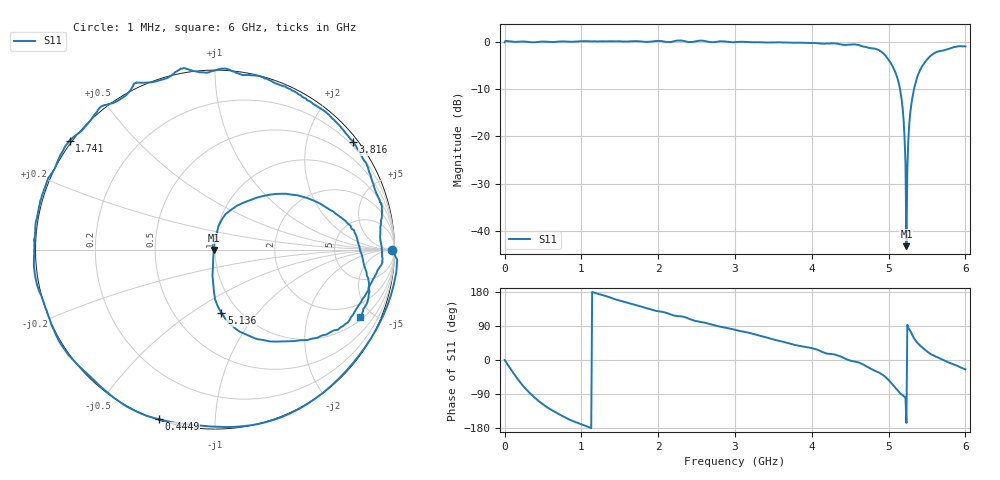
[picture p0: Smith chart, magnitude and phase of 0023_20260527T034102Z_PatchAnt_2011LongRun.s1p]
# Hz S RI R 50
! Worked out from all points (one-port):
!   501 points, 1 MHz to 6 GHz, reference 50 ohm
!   lowest |S11| = -43.1 dB at 5.232 GHz (marker M1), VSWR 1.01, Z = 49.3 - j0.165 ohm
!   |S11| at or under -10 dB: 5.149 GHz to 5.332 GHz (182.6 MHz wide, 3.49 % of centre)
!   S11 on the Smith chart (normalised r, x): 1 MHz: open; 444.9 MHz: 0.00, -0.72; 1.741 GHz: -0.01, +0.33; 3.816 GHz: 0.12, +2.91; 5.136 GHz: 0.83, -0.67; 6 GHz: 1.17, -4.24
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1000000  0.9882 -0.00223
8.4986e7  0.9059 -0.4309
2.16964e8  0.4683 -0.8876
3.0095e8  0.1465 -0.9848
4.44926e8  -0.3142 -0.9445
7.56874e8  -0.8558 -0.5307
1.068822e9  -1.009 -0.0899
1.50075e9  -0.9271 0.4022
1.74071e9  -0.8106 0.6059
2.256624e9  -0.451 0.9239
3.0005e9  0.18 0.9733
3.756374e9  0.7369 0.6386
3.816364e9  0.7687 0.5988
4.308282e9  0.9292 0.2287
4.50025e9  0.9303 -0.0219
4.86019e9  0.6993 -0.433
5.028162e9  0.3063 -0.5118
5.136144e9  0.0354 -0.3523
5.184136e9  -0.0095 -0.1942
5.196134e9  -0.0141 -0.1462
5.208132e9  -0.0113 -0.0956
5.232128e9  -0.00676 -0.00167
5.256124e9  0.00804 0.0864
5.268122e9  0.0198 0.131
5.304116e9  0.091 0.2229
5.412098e9  0.3972 0.3108
5.628062e9  0.7753 0.1071
6e9  0.8086 -0.3739
